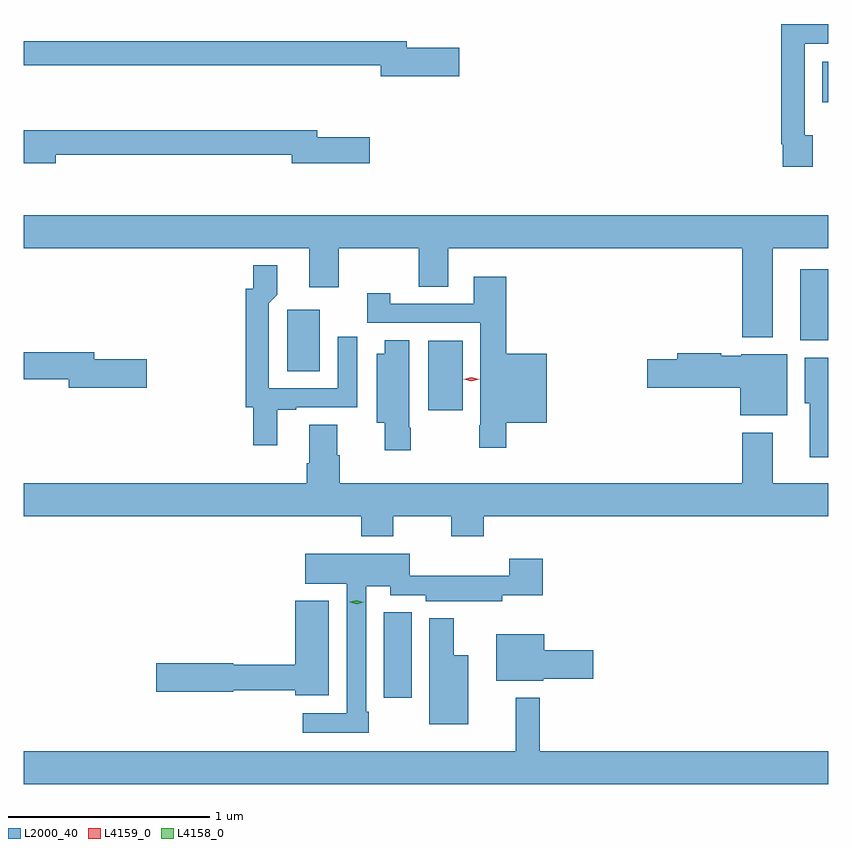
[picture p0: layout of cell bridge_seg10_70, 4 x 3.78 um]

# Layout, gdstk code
import gdstk
lib = gdstk.Library(unit=1e-6, precision=1e-09)
def R(c, l, rs):  # rectangles x0, y0, x1, y1
    for r in rs: c.add(gdstk.rectangle(r[:2], r[2:], *l))
def P(c, l, *ps):  # polygons
    for p in ps: c.add(gdstk.Polygon(p, *l))
L2000_40 = (2000, 40)
L4158_0 = (4158, 0)
L4159_0 = (4159, 0)

bridge_seg10_70 = lib.new_cell('bridge_seg10_70')
R(bridge_seg10_70, L2000_40, [(731.459,1252.794,731.596,1253.219), (731.678,1254.224,731.851,1254.568), (730.977,1254.418,731.14,1254.724), (733.529,1254.572,733.668,1254.925), (733.64,1255.754,733.668,1255.957)])
P(bridge_seg10_70, L2000_40, [(733.591,1255.59),(733.551,1255.59),(733.551,1256.046),(733.668,1256.046),(733.668,1256.144),(733.435,1256.144),(733.435,1255.546),(733.443,1255.546),(733.443,1255.434),(733.591,1255.434)],
  [(731.833,1256.025),(731.572,1256.025),(731.572,1256.059),(729.668,1256.059),(729.668,1255.938),(731.444,1255.938),(731.444,1255.883),(731.833,1255.883)],
  [(729.826,1255.494),(731,1255.494),(731,1255.451),(731.389,1255.451),(731.389,1255.581),(731.128,1255.581),(731.128,1255.615),(729.668,1255.615),(729.668,1255.451),(729.826,1255.451)],
  [(733.393,1255.028),(733.668,1255.028),(733.668,1255.192),(729.668,1255.192),(729.668,1255.028),(731.087,1255.028),(731.087,1254.834),(731.235,1254.834),(731.235,1255.028),(731.632,1255.028),(731.632,1254.838),(731.779,1254.838),(731.779,1255.028),(733.241,1255.028),(733.241,1254.587),(733.393,1254.587)],
  [(730.927,1254.225),(731.023,1254.225),(731.023,1254.237),(731.325,1254.237),(731.325,1254.589),(731.229,1254.589),(731.229,1254.333),(730.887,1254.333),(730.887,1254.756),(730.928,1254.797),(730.928,1254.943),(730.81,1254.943),(730.81,1254.828),(730.771,1254.828),(730.771,1254.237),(730.81,1254.237),(730.81,1254.048),(730.927,1254.048)],
  [(732.068,1254.161),(732.268,1254.161),(732.268,1254.505),(732.068,1254.505),(732.068,1254.886),(731.906,1254.886),(731.906,1254.753),(731.489,1254.753),(731.489,1254.805),(731.376,1254.805),(731.376,1254.657),(731.939,1254.657),(731.939,1254.148),(731.932,1254.148),(731.932,1254.036),(732.068,1254.036)],
  [(731.592,1254.136),(731.584,1254.136),(731.584,1254.572),(731.462,1254.572),(731.462,1254.505),(731.423,1254.505),(731.423,1254.161),(731.462,1254.161),(731.462,1254.024),(731.592,1254.024)],
  [(730.279,1254.476),(730.018,1254.476),(730.018,1254.512),(729.668,1254.512),(729.668,1254.376),(729.89,1254.376),(729.89,1254.334),(730.279,1254.334)],
  [(733.465,1254.502),(733.236,1254.502),(733.236,1254.493),(733.136,1254.493),(733.136,1254.506),(732.917,1254.506),(732.917,1254.476),(732.768,1254.476),(732.768,1254.334),(733.232,1254.334),(733.232,1254.197),(733.465,1254.197)],
  [(733.668,1254.484),(733.553,1254.484),(733.553,1254.258),(733.577,1254.258),(733.577,1253.988),(733.668,1253.988)],
  [(731.505,1253.696),(731.794,1253.696),(731.794,1253.597),(731.954,1253.597),(731.954,1253.696),(733.668,1253.696),(733.668,1253.86),(733.393,1253.86),(733.393,1254.112),(733.241,1254.112),(733.241,1253.86),(731.24,1253.86),(731.24,1254),(731.227,1254),(731.227,1254.152),(731.087,1254.152),(731.087,1253.96),(731.075,1253.96),(731.075,1253.86),(729.668,1253.86),(729.668,1253.696),(731.345,1253.696),(731.345,1253.597),(731.505,1253.597)],
  [(731.383,1252.723),(731.37,1252.723),(731.37,1253.348),(731.49,1253.348),(731.49,1253.304),(731.666,1253.304),(731.666,1253.273),(732.046,1253.273),(732.046,1253.303),(732.248,1253.303),(732.248,1253.485),(732.083,1253.485),(732.083,1253.401),(731.586,1253.401),(731.586,1253.509),(731.067,1253.509),(731.067,1253.36),(731.274,1253.36),(731.274,1252.716),(731.055,1252.716),(731.055,1252.62),(731.383,1252.62)],
  [(731.185,1253.275),(731.018,1253.275),(731.018,1252.958),(730.71,1252.958),(730.71,1252.964),(730.326,1252.964),(730.326,1252.822),(730.71,1252.822),(730.71,1252.83),(731.018,1252.83),(731.018,1252.805),(731.185,1252.805)],
  [(731.878,1253.005),(731.806,1253.005),(731.806,1253.188),(731.684,1253.188),(731.684,1252.661),(731.878,1252.661)],
  [(732.252,1252.888),(732.499,1252.888),(732.499,1253.03),(732.256,1253.03),(732.256,1253.11),(732.017,1253.11),(732.017,1252.877),(732.252,1252.877)],
  [(733.668,1252.528),(732.233,1252.528),(732.233,1252.792),(732.115,1252.792),(732.115,1252.528),(729.668,1252.528),(729.668,1252.364),(733.668,1252.364)])
P(bridge_seg10_70, L4158_0, [(731.323,1253.259),(731.288,1253.269),(731.288,1253.27),(731.288,1253.27),(731.323,1253.279),(731.358,1253.269),(731.358,1253.268),(731.358,1253.268)])
P(bridge_seg10_70, L4159_0, [(731.894,1254.367),(731.856,1254.377),(731.855,1254.377),(731.856,1254.377),(731.894,1254.387),(731.932,1254.377),(731.932,1254.376),(731.932,1254.376)])

lib.write_gds('bridge_seg10_70.gds')
